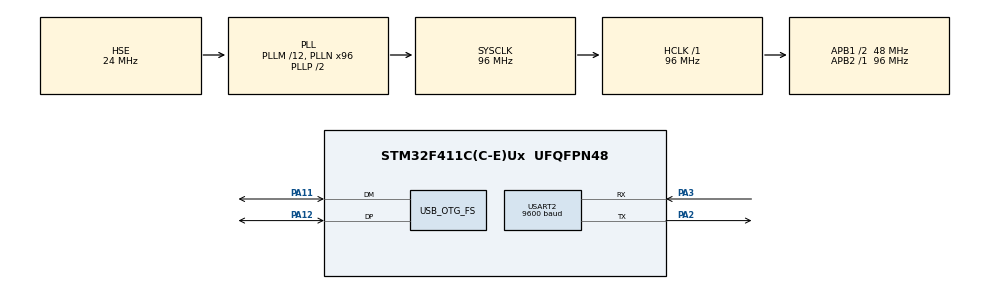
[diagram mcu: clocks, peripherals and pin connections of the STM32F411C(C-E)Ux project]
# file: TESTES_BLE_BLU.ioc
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Mcu.Family=STM32F4
Mcu.Name=STM32F411C(C-E)Ux
Mcu.Package=UFQFPN48
NVIC.OTG_FS_IRQn=true\:0\:0\:false\:false\:true\:false\:true\:true
NVIC.PriorityGroup=NVIC_PRIORITYGROUP_4
NVIC.USART2_IRQn=true\:0\:0\:false\:false\:true\:true\:true\:true
PA11.Mode=Device_Only
PA11.Signal=USB_OTG_FS_DM
PA12.Mode=Device_Only
PA12.Signal=USB_OTG_FS_DP
PA13.Mode=Serial_Wire
PA13.Signal=SYS_JTMS-SWDIO
PA14.Mode=Serial_Wire
PA14.Signal=SYS_JTCK-SWCLK
PA2.Mode=Asynchronous
PA2.Signal=USART2_TX
PA3.Mode=Asynchronous
PA3.Signal=USART2_RX
PH0\ -\ OSC_IN.Mode=HSE-External-Oscillator
PH0\ -\ OSC_IN.Signal=RCC_OSC_IN
PH1\ -\ OSC_OUT.Mode=HSE-External-Oscillator
PH1\ -\ OSC_OUT.Signal=RCC_OSC_OUT
ProjectManager.HeapSize=0x200
ProjectManager.StackSize=0x400
ProjectManager.TargetToolchain=STM32CubeIDE
RCC.48MHZClocksFreq_Value=48000000
RCC.AHBFreq_Value=96000000
RCC.APB1CLKDivider=RCC_HCLK_DIV2
RCC.APB1Freq_Value=48000000
RCC.APB1TimFreq_Value=96000000
RCC.APB2Freq_Value=96000000
RCC.APB2TimFreq_Value=96000000
RCC.CortexFreq_Value=96000000
RCC.HCLKFreq_Value=96000000
RCC.HSE_VALUE=24000000
RCC.HSI_VALUE=16000000
RCC.LSE_VALUE=32768
RCC.PLLM=12
RCC.PLLN=96
RCC.SYSCLKFreq_VALUE=96000000
RCC.SYSCLKSource=RCC_SYSCLKSOURCE_PLLCLK
RCC.VCOOutputFreq_Value=192000000
USART2.BaudRate=9600
USART2.VirtualMode=VM_ASYNC
USB_DEVICE.CLASS_NAME_FS=CDC
USB_DEVICE.VirtualMode=Cdc
USB_DEVICE.VirtualModeFS=Cdc_FS
USB_OTG_FS.VirtualMode=Device_Only
VP_USB_DEVICE_VS_USB_DEVICE_CDC_FS.Mode=CDC_FS
board=custom

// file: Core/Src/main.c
/* USER CODE BEGIN Header */
/**
 ******************************************************************************
 * @file           : main.c
 * @brief          : Main program body
 ******************************************************************************
 * @attention
 *
 * Copyright (c) 2024 STMicroelectronics.
 * All rights reserved.
 *
 * This software is licensed under terms that can be found in the LICENSE file
 * in the root directory of this software component.
 * If no LICENSE file comes with this software, it is provided AS-IS.
 *
 ******************************************************************************
 */
/* USER CODE END Header */
#include "main.h"
#include "usb_device.h"

/* USER CODE BEGIN Includes */
#include "usbd_cdc_if.h"
/* USER CODE END Includes */

/* USER CODE BEGIN PD */
#define RX_BUFFER_SIZE 1  // Tamanho do buffer de recepção (um byte por vez)
#define TX_BUFFER_SIZE 50     // Tamanho máximo do buffer para a transmissão
#define RESPONSE_BUFFER_SIZE 10000
/* USER CODE END PD */

UART_HandleTypeDef huart2;

/* USER CODE BEGIN PV */

uint8_t rxBuffer[RX_BUFFER_SIZE];
char assembledBuffer[TX_BUFFER_SIZE] = "";  // Buffer para montar a mensagem recebida
char *command;
char received_char;
char *commands[] = {
    "AT\r\n",
    "AT+RESET\r\n",
    "AT+ROLE0\r\n",
    "AT+RESET\r\n",
    "AT+NAMEBT05\r\n",
    "AT+PIN1234\r\n" // Define o PIN como 1234
};
/* USER CODE END PV */

void SystemClock_Config(void);
static void MX_GPIO_Init(void);
static void MX_USART2_UART_Init(void);
/* USER CODE BEGIN PFP */
void HAL_UART_RxCpltCallback(UART_HandleTypeDef *huart);
void USART2_Transmit(uint8_t* data, uint16_t size);
extern uint8_t CDC_Transmit_FS(uint8_t *Buf, uint16_t Len);
void sendATCommand(const uint8_t *command, uint32_t timeOut);
void USART_SendChar(char ch);
char USART_ReceiveChar(void);
/* USER CODE END PFP */

int main(void)
{

  /* MCU Configuration--------------------------------------------------------*/

  /* Reset of all peripherals, Initializes the Flash interface and the Systick. */
  HAL_Init();

  /* Configure the system clock */
  SystemClock_Config();

  /* Initialize all configured peripherals */
  MX_GPIO_Init();
  MX_USB_DEVICE_Init();
  MX_USART2_UART_Init();
  /* USER CODE BEGIN 2 */

	HAL_Delay(3000);

	/*
	 * Esse módulo HM-10 já fica automaticamente no modo de comandos AT.
	 * (led piscando). Quando há conexão bluetooth com dispotivo remoto,
	 * o modo de comandos AT fica desabilitado (led acesso continuamente).
	 */

	// Send AT command and receive response to a char buffer
	sendATCommand("AT\r\n", 200); 				// Check if module is responsive
	sendATCommand("AT+BAUD8\r\n", 200); 			// Check if module is responsive
	sendATCommand("AT+NAME\r\n", 200);
	//sendATCommand("AT+NAMEHM10\r\n", 200);
    sendATCommand("AT+TYPE\r\n", 200);
    sendATCommand("AT+ROLE\r\n", 200);
	sendATCommand("AT+HELP\r\n", 5000);
    //sendATCommand("AT+HELP\r\n", 6000);
	//sendATCommand("AT+BAUD8\r\n", 100);// BAUD1=1200, BAUD2=2400, ..., BARD7=57600, BAUD8=115200, ..., BAUD12=132400 bps.

	/*

	 sendATCommand("AT+NAMEBT5\r\n", 100); 	// Set module name
	 sendATCommand("AT+NAME\r\n", 100);			// Query module name
	 sendATCommand("AT+PIN\r\n", 100);
	 sendATCommand("AT+LADDR\r\n", 100);
	 sendATCommand("AT+ROLE\r\n", 100);
	 sendATCommand("AT+BAUD\r\n", 100); 			// Query BaudRate
	 sendATCommand("AT+POWE\r\n", 100);			// Get/Set RF transmit power
	 sendATCommand("AT+UUID\r\n", 100);			//Powers = 0: -23dbm,1: -6dbm, 2: 0dbm, 3: 6dbm
	 sendATCommand("AT+INQ\r\n", 100);
	 sendATCommand("AT+TYPE\r\n", 100);
	 sendATCommand("AT+HELP\r\n", 5000);		    // Query available commands

	 */

  /* USER CODE END 2 */

  /* Infinite loop */
  /* USER CODE BEGIN WHILE */

	while (1) {

/*		// Check if data is available in USART2 receive buffer
		if (__HAL_UART_GET_FLAG(&huart1, UART_FLAG_RXNE) == SET) {
			// Read the received character
			received_char = USART_ReceiveChar();

			// Echo back the received character
			USART_SendChar(received_char);
		}*/

    /* USER CODE END WHILE */

	}
}

void SystemClock_Config(void)
{
  RCC_OscInitTypeDef RCC_OscInitStruct = {0};
  RCC_ClkInitTypeDef RCC_ClkInitStruct = {0};

  /** Configure the main internal regulator output voltage
  */
  __HAL_RCC_PWR_CLK_ENABLE();
  __HAL_PWR_VOLTAGESCALING_CONFIG(PWR_REGULATOR_VOLTAGE_SCALE1);

  /** Initializes the RCC Oscillators according to the specified parameters
  * in the RCC_OscInitTypeDef structure.
  */
  RCC_OscInitStruct.OscillatorType = RCC_OSCILLATORTYPE_HSE;
  RCC_OscInitStruct.HSEState = RCC_HSE_ON;
  RCC_OscInitStruct.PLL.PLLState = RCC_PLL_ON;
  RCC_OscInitStruct.PLL.PLLSource = RCC_PLLSOURCE_HSE;
  RCC_OscInitStruct.PLL.PLLM = 12;
  RCC_OscInitStruct.PLL.PLLN = 96;
  RCC_OscInitStruct.PLL.PLLP = RCC_PLLP_DIV2;
  RCC_OscInitStruct.PLL.PLLQ = 4;
  if (HAL_RCC_OscConfig(&RCC_OscInitStruct) != HAL_OK)
  {
    Error_Handler();
  }

  /** Initializes the CPU, AHB and APB buses clocks
  */
  RCC_ClkInitStruct.ClockType = RCC_CLOCKTYPE_HCLK|RCC_CLOCKTYPE_SYSCLK
                              |RCC_CLOCKTYPE_PCLK1|RCC_CLOCKTYPE_PCLK2;
  RCC_ClkInitStruct.SYSCLKSource = RCC_SYSCLKSOURCE_PLLCLK;
  RCC_ClkInitStruct.AHBCLKDivider = RCC_SYSCLK_DIV1;
  RCC_ClkInitStruct.APB1CLKDivider = RCC_HCLK_DIV2;
  RCC_ClkInitStruct.APB2CLKDivider = RCC_HCLK_DIV1;

  if (HAL_RCC_ClockConfig(&RCC_ClkInitStruct, FLASH_LATENCY_3) != HAL_OK)
  {
    Error_Handler();
  }
}

static void MX_USART2_UART_Init(void)
{

  huart2.Instance = USART2;
  huart2.Init.BaudRate = 9600;
  huart2.Init.WordLength = UART_WORDLENGTH_8B;
  huart2.Init.StopBits = UART_STOPBITS_1;
  huart2.Init.Parity = UART_PARITY_NONE;
  huart2.Init.Mode = UART_MODE_TX_RX;
  huart2.Init.HwFlowCtl = UART_HWCONTROL_NONE;
  huart2.Init.OverSampling = UART_OVERSAMPLING_16;
  if (HAL_UART_Init(&huart2) != HAL_OK)
  {
    Error_Handler();
  }
  // Habilita a interrupção de recepção (RX)

  HAL_UART_Receive_IT(&huart2, rxBuffer, RX_BUFFER_SIZE);  // Começa a escutar na interrupção

}

static void MX_GPIO_Init(void)
{

  /* GPIO Ports Clock Enable */
  __HAL_RCC_GPIOH_CLK_ENABLE();
  __HAL_RCC_GPIOA_CLK_ENABLE();

}

/* USER CODE BEGIN 4 */
void HAL_UART_RxCpltCallback(UART_HandleTypeDef *huart) {
    if (huart->Instance == USART2) {
        // Filtra caracteres de controle ('\n' e '\r')
        if (rxBuffer[0] != '\n' && rxBuffer[0] != '\r') {
            // Adiciona o byte recebido ao buffer de montagem
            size_t len = strlen(assembledBuffer);
            if (len < TX_BUFFER_SIZE - 1) {  // Garante espaço para mais um caractere e o terminador nulo
                assembledBuffer[len] = rxBuffer[0];
                assembledBuffer[len + 1] = '\0';  // Adiciona o terminador nulo
            }
        }

        // Verifica se o final do comando foi atingido, por exemplo, ao receber '\n'
        if (rxBuffer[0] == '\n') {
            // Concatena "_rx" ao comando completo
            if (strlen(assembledBuffer) + 3 < TX_BUFFER_SIZE) {  // Garante espaço para "_rx"
                strncat(assembledBuffer, "_rx", TX_BUFFER_SIZE - strlen(assembledBuffer) - 1);
            }

            // Transmite o comando modificado
            USART2_Transmit((uint8_t *)assembledBuffer, strlen(assembledBuffer));

            // Limpa o buffer montado para a próxima mensagem
            memset(assembledBuffer, 0, TX_BUFFER_SIZE);
        }

        // Reinicia a recepção para o próximo byte
        HAL_UART_Receive_IT(&huart2, rxBuffer, RX_BUFFER_SIZE);
    }
}

// Função para transmitir dados via USART2
void USART2_Transmit(uint8_t* data, uint16_t size) {
    HAL_UART_Transmit(&huart2, data, size, HAL_MAX_DELAY);  // Transmite os dados
}

void sendATCommand(const uint8_t *command, uint32_t timeOut) {
	char response[RESPONSE_BUFFER_SIZE];
	memset(response, 0, RESPONSE_BUFFER_SIZE);

	// Send the AT command
	HAL_UART_Transmit(&huart2, command, strlen(command), timeOut);
	CDC_Transmit_FS(command, strlen(command));

	// Wait for response
	HAL_UART_Receive(&huart2, response, RESPONSE_BUFFER_SIZE, timeOut);
	CDC_Transmit_FS(response, strlen(response));
}

// Send a character via USART
void USART_SendChar(char ch) {
	HAL_UART_Transmit(&huart2, (uint8_t*) &ch, 1, HAL_MAX_DELAY);
}

// Receive a character via USART
char USART_ReceiveChar(void) {
	uint8_t ch;
	HAL_UART_Receive(&huart2, &ch, 1, HAL_MAX_DELAY);
	return (char) ch;
}

/* USER CODE END 4 */

void Error_Handler(void)
{
	__disable_irq();
	while (1) {
	}
}
